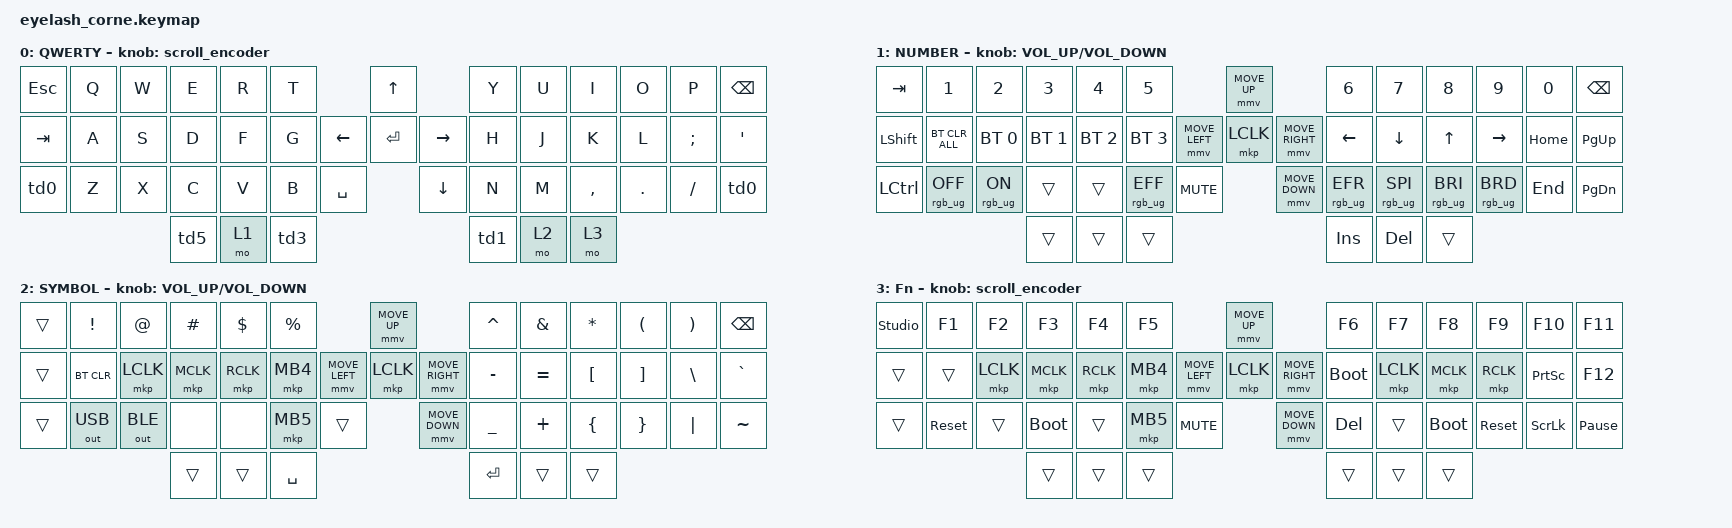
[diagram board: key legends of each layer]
#define ZMK_POINTING_DEFAULT_MOVE_VAL 1200  // 600
#define ZMK_POINTING_DEFAULT_SCRL_VAL 25   // 10

#include <input/processors.dtsi>
#include <zephyr/dt-bindings/input/input-event-codes.h>
#include <behaviors.dtsi>
#include <dt-bindings/zmk/bt.h>
#include <dt-bindings/zmk/keys.h>
#include <dt-bindings/zmk/outputs.h>
#include <dt-bindings/zmk/pointing.h>
#include <dt-bindings/zmk/rgb.h>

&mmv_input_listener { input-processors = <&zip_xy_scaler 2 1>; };

&msc_input_listener { input-processors = <&zip_scroll_scaler 2 1>; };

&msc {
    acceleration-exponent = <1>;      // 0
    time-to-max-speed-ms = <100>;       // 300
    delay-ms = <0>;                   // 0
};

&mmv {
    time-to-max-speed-ms = <500>;
    acceleration-exponent = <1>;
    trigger-period-ms = <16>;
};

/ {
    behaviors {
        td0: td0 {
            compatible = "zmk,behavior-tap-dance";
            display-name = "Shift/Caps Lock Tap Dance";
            #binding-cells = <0>;
            bindings = <&kp LEFT_SHIFT>, <&kp CAPS>;
        };
        td1: td1 {
            compatible = "zmk,behavior-tap-dance";
            display-name = "ATD: Space/Return Enter";
            #binding-cells = <0>;
            bindings = <&kp SPACE>, <&kp ENTER>;
        };
        td2: td2 {
            compatible = "zmk,behavior-tap-dance";
            display-name = "ATD: ESC/Shift";
            #binding-cells = <0>;
            bindings = <&kp ESC>, <&kp RIGHT_SHIFT>;
        };
        td3: td3 {
            compatible = "zmk,behavior-tap-dance";
            display-name = "ATD: ALT/MO Fn";
            #binding-cells = <0>;
            bindings = <&kp LALT>, <&mo 3>;
        };
        td4: td4 {
            compatible = "zmk,behavior-tap-dance";
            display-name = "ATD: RALT/RCTRL";
            #binding-cells = <0>;
            bindings = <&kp RALT>, <&kp RCTRL>;
        };
        td5: td5 {
            compatible = "zmk,behavior-tap-dance";
            display-name = "ATD: RCTRL/LGUI";
            #binding-cells = <0>;
            bindings = <&kp RCTRL>, <&kp LGUI>;
        };
    };

    rgb_encoder: rgb_encoder {
        compatible = "zmk,behavior-sensor-rotate";
        #sensor-binding-cells = <0>;
        bindings = <&rgb_ug RGB_BRI>, <&rgb_ug RGB_BRD>;
    };

    scroll_encoder: scroll_encoder {
        compatible = "zmk,behavior-sensor-rotate";
        #sensor-binding-cells = <0>;
        bindings = <&msc SCRL_DOWN>, <&msc SCRL_UP>;

        tap-ms = <100>;
    };

    keymap {
        compatible = "zmk,keymap";

        default_layer {
            display-name = "QWERTY";
            bindings = <
&kp ESC   &kp Q   &kp W   &kp E   &kp R   &kp T                               &kp UP                 &kp Y   &kp U   &kp I       &kp O     &kp P      &kp BSPC
&kp TAB   &kp A   &kp S   &kp D   &kp F   &kp G                     &kp LEFT  &kp ENTER  &kp RIGHT   &kp H   &kp J   &kp K       &kp L     &kp SEMI   &kp SQT
&td0      &kp Z   &kp X   &kp C   &kp V   &kp B        &kp SPACE              &kp DOWN               &kp N   &kp M   &kp COMMA   &kp DOT   &kp FSLH   &td0
                          &td5    &mo 1   &td3                                                       &td1    &mo 2   &mo 3
            >;

             sensor-bindings = <&scroll_encoder>;

           
        };

        lower_layer {
            display-name = "NUMBER";
            bindings = <
&kp TAB      &kp N1           &kp N2          &kp N3        &kp N4        &kp N5                                         &mmv MOVE_UP                     &kp N6           &kp N7           &kp N8           &kp N9           &kp N0    &kp BSPC
&kp LSHIFT   &bt BT_CLR_ALL   &bt BT_SEL 0    &bt BT_SEL 1  &bt BT_SEL 2  &bt BT_SEL 3                   &mmv MOVE_LEFT  &mkp LCLK       &mmv MOVE_RIGHT  &kp LEFT         &kp DOWN         &kp UP           &kp RIGHT        &kp HOME  &kp PG_UP
&kp LCTRL    &rgb_ug RGB_OFF  &rgb_ug RGB_ON  &trans        &trans        &rgb_ug RGB_EFF  &kp C_MUTE                    &mmv MOVE_DOWN                   &rgb_ug RGB_EFR  &rgb_ug RGB_SPI  &rgb_ug RGB_BRI  &rgb_ug RGB_BRD  &kp END   &kp PG_DN
                                         &trans        &trans        &trans                                                                          &kp INS          &kp DEL          &trans
            >;

            sensor-bindings = <&inc_dec_kp C_VOLUME_UP C_VOLUME_DOWN>;
        };

        raise_layer {
            display-name = "SYMBOL";
            bindings = <
&trans  &kp EXCL      &kp AT        &kp HASH   &kp DLLR   &kp PRCNT                            &mmv MOVE_UP                     &kp CARET  &kp AMPS   &kp ASTRK  &kp LPAR  &kp RPAR  &kp BSPC
&trans  &bt BT_CLR    &mkp LCLK     &mkp MCLK  &mkp RCLK  &mkp MB4             &mmv MOVE_LEFT  &mkp LCLK       &mmv MOVE_RIGHT  &kp MINUS  &kp EQUAL  &kp LBKT   &kp RBKT  &kp BSLH  &kp GRAVE
&trans  &out OUT_USB  &out OUT_BLE  &none      &none      &mkp MB5   &trans                    &mmv MOVE_DOWN                   &kp UNDER  &kp PLUS   &kp LBRC   &kp RBRC  &kp PIPE  &kp TILDE
                                    &trans     &trans     &kp SPACE                                                             &kp RET    &trans     &trans
            >;

            sensor-bindings = <&inc_dec_kp C_VOLUME_UP C_VOLUME_DOWN>;
        };

        layer_3 {
            display-name = "Fn";
            bindings = <
&studio_unlock  &kp F1      &kp F2     &kp F3       &kp F4     &kp F5                                  &mmv MOVE_UP                     &kp F6       &kp F7     &kp F8       &kp F9      &kp F10          &kp F11
&trans          &trans      &mkp LCLK  &mkp MCLK    &mkp RCLK  &mkp MB4                &mmv MOVE_LEFT  &mkp LCLK       &mmv MOVE_RIGHT  &bootloader  &mkp LCLK  &mkp MCLK    &mkp RCLK   &kp PRINTSCREEN  &kp F12
&trans          &sys_reset  &trans     &bootloader  &trans     &mkp MB5  &kp C_MUTE                    &mmv MOVE_DOWN                   &kp DEL      &trans     &bootloader  &sys_reset  &kp SCROLLLOCK   &kp PAUSE_BREAK
                                       &trans       &trans     &trans                                                                   &trans       &trans     &trans
            >;

            sensor-bindings = <&scroll_encoder>;
        };
    };
};
